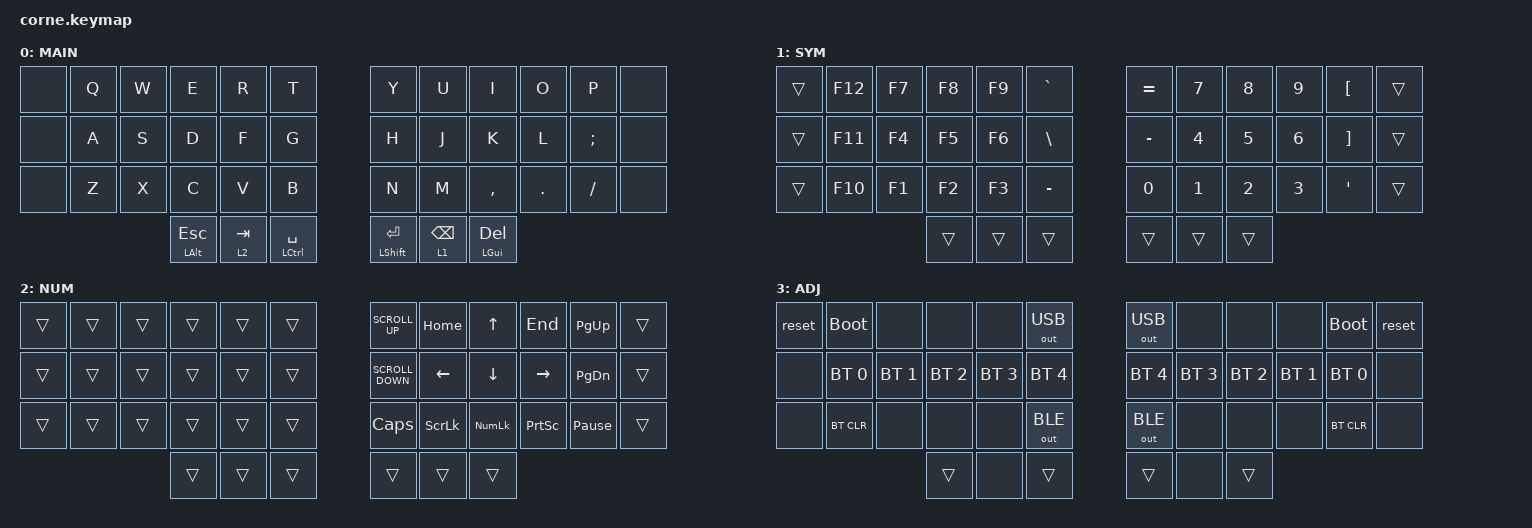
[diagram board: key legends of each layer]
/*
 * Copyright (c) 2020 The ZMK Contributors
 *
 * SPDX-License-Identifier: MIT
 */

#include <behaviors.dtsi>
#include <dt-bindings/zmk/keys.h>
#include <dt-bindings/zmk/outputs.h>
#include <dt-bindings/zmk/bt.h>

&lt {
    quick_tap_ms = <200>;
};

&mt {
    quick_tap_ms = <200>;
};

/ {
    combos {
        compatible = "zmk,combos";

        az_gui {
            bindings = <&kp LGUI>;
            key-positions = <25 26>;
            layers = <0 1 2>;
        };

        dotcol_rgui {
            bindings = <&kp RGUI>;
            key-positions = <34 33>;
            layers = <0 1 2>;
        };

        adj_tog {
            bindings = <&sl 3>;
            key-positions = <2 3>;
            layers = <1 2>;
        };

        asdf_macro_run {
            bindings = <&asdf_macro>;
            key-positions = <28 29 27>;
        };

        term_macro_run {
            bindings = <&term_macro>;
            key-positions = <17 16 15>;
        };
    };

    macros {
        asdf_macro: asdf_macro {
            compatible = "zmk,behavior-macro";
            label = "new_macro";
            #binding-cells = <0>;
            bindings = <&kp A &kp S &kp D &kp F>;
        };
        term_macro: term_macro {
            compatible = "zmk,behavior-macro";
            label = "new_macro";
            #binding-cells = <0>;
            bindings = <&kp LEFT_GUI &kp GRAVE>;
        };
    };

    keymap {
        compatible = "zmk,keymap";

        MAIN {
            label = "MAIN";
            bindings = <
  &none   &kp Q   &kp W         &kp E      &kp R            &kp T            &kp Y            &kp U         &kp I    &kp O          &kp P   &none
  &none   &kp A   &kp S         &kp D      &kp F            &kp G            &kp H            &kp J         &kp K    &kp L  &kp SEMICOLON   &none
  &none   &kp Z   &kp X         &kp C      &kp V            &kp B            &kp N            &kp M     &kp COMMA  &kp DOT       &kp FSLH   &none
                         &mt LALT ESC  &lt 2 TAB  &mt LCTRL SPACE  &mt LSHFT ENTER  &lt 1 BACKSPACE  &mt LGUI DEL
            >;
        };

        SYM {
            label = "SYM";
            bindings = <
 &trans  &kp F12  &kp F7  &kp F8  &kp F9      &kp GRAVE  &kp EQUAL  &kp N7  &kp N8  &kp N9   &kp LEFT_BRACKET  &trans
 &trans  &kp F11  &kp F4  &kp F5  &kp F6  &kp BACKSLASH  &kp MINUS  &kp N4  &kp N5  &kp N6  &kp RIGHT_BRACKET  &trans
 &trans  &kp F10  &kp F1  &kp F2  &kp F3      &kp MINUS     &kp N0  &kp N1  &kp N2  &kp N3   &kp SINGLE_QUOTE  &trans
                          &trans  &trans         &trans     &trans  &trans  &trans
            >;
        };

        NUM {
            label = "NUM";
            bindings = <
 &trans  &trans  &trans  &trans  &trans  &trans    &kp K_SCROLL_UP        &kp HOME          &kp UP          &kp END        &kp PG_UP  &trans
 &trans  &trans  &trans  &trans  &trans  &trans  &kp K_SCROLL_DOWN        &kp LEFT        &kp DOWN        &kp RIGHT        &kp PG_DN  &trans
 &trans  &trans  &trans  &trans  &trans  &trans           &kp CAPS  &kp SCROLLLOCK  &kp KP_NUMLOCK  &kp PRINTSCREEN  &kp PAUSE_BREAK  &trans
                         &trans  &trans  &trans             &trans          &trans          &trans
            >;
        };

        ADJ {
            label = "ADJ";
            bindings = <
 &reset   &bootloader         &none         &none         &none  &out OUT_USB  &out OUT_USB         &none         &none         &none   &bootloader  &reset
  &none  &bt BT_SEL 0  &bt BT_SEL 1  &bt BT_SEL 2  &bt BT_SEL 3  &bt BT_SEL 4  &bt BT_SEL 4  &bt BT_SEL 3  &bt BT_SEL 2  &bt BT_SEL 1  &bt BT_SEL 0   &none
  &none    &bt BT_CLR         &none         &none         &none  &out OUT_BLE  &out OUT_BLE         &none         &none         &none    &bt BT_CLR   &none
                                           &trans         &none        &trans        &trans         &none        &trans
            >;
        };
    };
};
